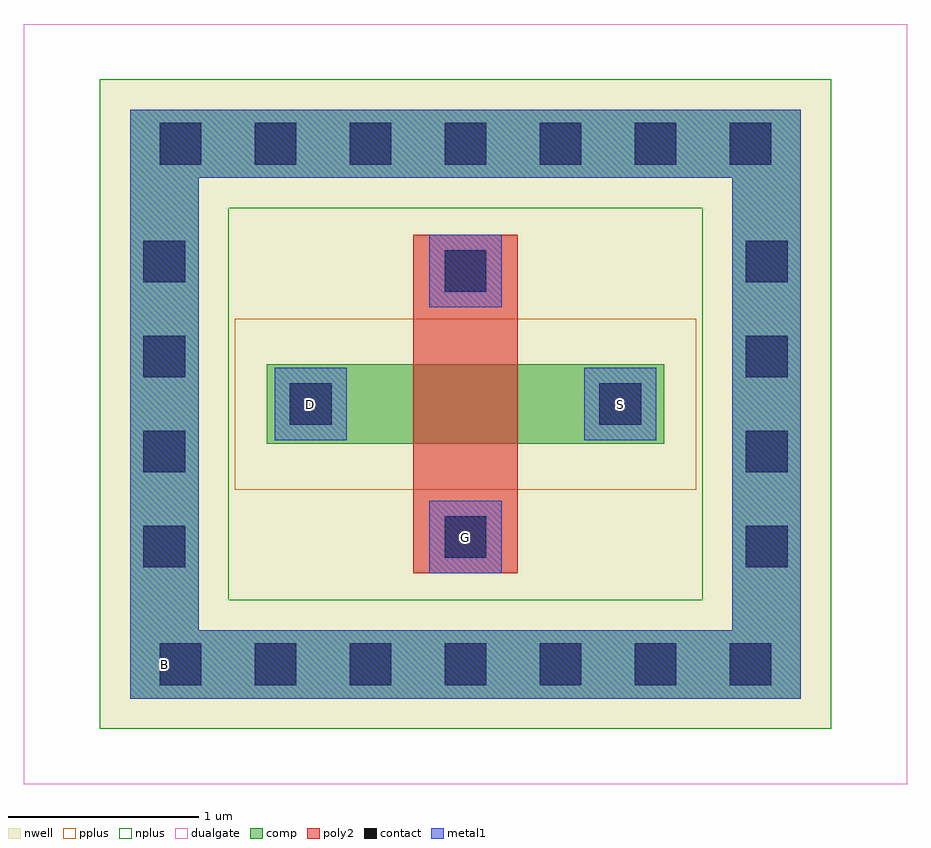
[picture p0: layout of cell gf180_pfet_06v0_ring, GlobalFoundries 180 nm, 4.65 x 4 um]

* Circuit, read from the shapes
.subckt gf180_pfet_06v0_ring B D G S
XM1 S G D B pfet_06v0 w=0.42u l=0.55u
.ends

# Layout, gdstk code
import gdstk
lib = gdstk.Library(unit=1e-6, precision=1e-09)
def R(c, l, rs):  # rectangles x0, y0, x1, y1
    for r in rs: c.add(gdstk.rectangle(r[:2], r[2:], *l))
def A(c, l, x, y, w, h, nx, ny, dx, dy):  # array of equal rectangles
    R(c, l, [(x+i*dx, y+j*dy, x+i*dx+w, y+j*dy+h) for i in range(nx) for j in range(ny)])
def P(c, l, *ps):  # polygons
    for p in ps: c.add(gdstk.Polygon(p, *l))
nwell = (21, 0)
comp = (22, 0)
poly2 = (30, 0)
pplus = (31, 0)
nplus = (32, 0)
contact = (33, 0)
metal1 = (34, 0)
dualgate = (55, 0)

pfet = lib.new_cell('pfet')
R(pfet, nwell, [(-1.24,-1.29,2.41,1.71)])
R(pfet, comp, [(-0.46,0,1.63,0.42)])
R(pfet, poly2, [(0.31,-0.68,0.86,1.1)])
R(pfet, pplus, [(-0.63,-0.24,1.8,0.66)])
R(pfet, contact, [(0.475,-0.6,0.695,-0.38), (-0.34,0.1,-0.12,0.32), (1.29,0.1,1.51,0.32), (0.475,0.8,0.695,1.02)])
R(pfet, metal1, [(0.395,-0.68,0.775,-0.3), (-0.42,0.02,-0.04,0.4), (1.21,0.02,1.59,0.4), (0.395,0.72,0.775,1.1)])
R(pfet, dualgate, [(-1.74,-1.79,2.91,2.21)])

gf180_pfet_06v0_ring = lib.new_cell('gf180_pfet_06v0_ring')
R(gf180_pfet_06v0_ring, nwell, [(-1.34,-1.5,2.51,1.92)])
P(gf180_pfet_06v0_ring, comp, [(-1.18,-1.34),(-1.18,1.4),(-0.82,1.4),(-0.82,-0.98),(1.99,-0.98),(1.99,1.4),(-1.18,1.4),(-1.18,1.76),(2.35,1.76),(2.35,-1.34)])
P(gf180_pfet_06v0_ring, nplus, [(-1.34,-1.5),(-1.34,1.24),(-0.66,1.24),(-0.66,-0.82),(1.83,-0.82),(1.83,1.24),(-1.34,1.24),(-1.34,1.92),(2.51,1.92),(2.51,-1.5)])
A(gf180_pfet_06v0_ring, contact, -1.025, -1.27, 0.22, 0.22, 7, 2, 0.5, 2.74)
A(gf180_pfet_06v0_ring, contact, -1.11, -0.65, 0.22, 0.22, 1, 4, 0, 0.5)
A(gf180_pfet_06v0_ring, contact, 2.06, -0.65, 0.22, 0.22, 1, 4, 0, 0.5)
P(gf180_pfet_06v0_ring, metal1, [(-1.18,-1.34),(-1.18,1.4),(-0.82,1.4),(-0.82,-0.98),(1.99,-0.98),(1.99,1.4),(-1.18,1.4),(-1.18,1.76),(2.35,1.76),(2.35,-1.34)])
R(gf180_pfet_06v0_ring, dualgate, [(-1.74,-1.79,2.91,2.21)])
gf180_pfet_06v0_ring.add(gdstk.Reference(pfet, (0,0)))
gf180_pfet_06v0_ring.add(gdstk.Label('D', (-0.23,0.21), layer=34, texttype=10))
gf180_pfet_06v0_ring.add(gdstk.Label('S', (1.4,0.21), layer=34, texttype=10))
gf180_pfet_06v0_ring.add(gdstk.Label('G', (0.585,-0.49), layer=34, texttype=10))
gf180_pfet_06v0_ring.add(gdstk.Label('B', (-1,-1.16), layer=34, texttype=10))

lib.write_gds('gf180_pfet_06v0_ring.gds')
